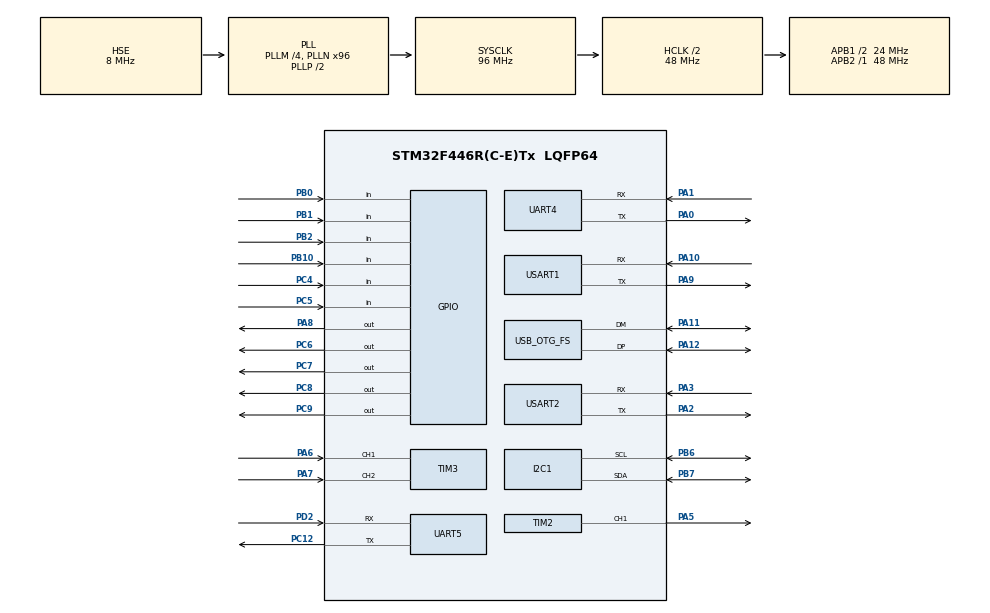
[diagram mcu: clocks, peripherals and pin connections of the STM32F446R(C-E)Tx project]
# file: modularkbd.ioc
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Dma.Request0=UART4_RX
Dma.Request1=UART4_TX
Dma.Request2=UART5_RX
Dma.Request3=UART5_TX
Dma.Request4=USART1_RX
Dma.Request5=USART1_TX
Dma.Request6=USART2_RX
Dma.Request7=USART2_TX
Dma.UART4_RX.0.Direction=DMA_PERIPH_TO_MEMORY
Dma.UART4_RX.0.FIFOMode=DMA_FIFOMODE_DISABLE
Dma.UART4_RX.0.Instance=DMA1_Stream2
Dma.UART4_RX.0.MemDataAlignment=DMA_MDATAALIGN_BYTE
Dma.UART4_RX.0.MemInc=DMA_MINC_ENABLE
Dma.UART4_RX.0.Mode=DMA_NORMAL
Dma.UART4_RX.0.PeriphDataAlignment=DMA_PDATAALIGN_BYTE
Dma.UART4_RX.0.PeriphInc=DMA_PINC_DISABLE
Dma.UART4_RX.0.Priority=DMA_PRIORITY_LOW
Dma.UART4_TX.1.Direction=DMA_MEMORY_TO_PERIPH
Dma.UART4_TX.1.FIFOMode=DMA_FIFOMODE_DISABLE
Dma.UART4_TX.1.Instance=DMA1_Stream4
Dma.UART4_TX.1.MemDataAlignment=DMA_MDATAALIGN_BYTE
Dma.UART4_TX.1.MemInc=DMA_MINC_ENABLE
Dma.UART4_TX.1.Mode=DMA_NORMAL
Dma.UART4_TX.1.PeriphDataAlignment=DMA_PDATAALIGN_BYTE
Dma.UART4_TX.1.PeriphInc=DMA_PINC_DISABLE
Dma.UART4_TX.1.Priority=DMA_PRIORITY_LOW
Dma.UART5_RX.2.Direction=DMA_PERIPH_TO_MEMORY
Dma.UART5_RX.2.FIFOMode=DMA_FIFOMODE_DISABLE
Dma.UART5_RX.2.Instance=DMA1_Stream0
Dma.UART5_RX.2.MemDataAlignment=DMA_MDATAALIGN_BYTE
Dma.UART5_RX.2.MemInc=DMA_MINC_ENABLE
Dma.UART5_RX.2.Mode=DMA_NORMAL
Dma.UART5_RX.2.PeriphDataAlignment=DMA_PDATAALIGN_BYTE
Dma.UART5_RX.2.PeriphInc=DMA_PINC_DISABLE
Dma.UART5_RX.2.Priority=DMA_PRIORITY_LOW
Dma.UART5_TX.3.Direction=DMA_MEMORY_TO_PERIPH
Dma.UART5_TX.3.FIFOMode=DMA_FIFOMODE_DISABLE
Dma.UART5_TX.3.Instance=DMA1_Stream7
Dma.UART5_TX.3.MemDataAlignment=DMA_MDATAALIGN_BYTE
Dma.UART5_TX.3.MemInc=DMA_MINC_ENABLE
Dma.UART5_TX.3.Mode=DMA_NORMAL
Dma.UART5_TX.3.PeriphDataAlignment=DMA_PDATAALIGN_BYTE
Dma.UART5_TX.3.PeriphInc=DMA_PINC_DISABLE
Dma.UART5_TX.3.Priority=DMA_PRIORITY_LOW
Dma.USART1_RX.4.Direction=DMA_PERIPH_TO_MEMORY
Dma.USART1_RX.4.FIFOMode=DMA_FIFOMODE_DISABLE
Dma.USART1_RX.4.Instance=DMA2_Stream2
Dma.USART1_RX.4.MemDataAlignment=DMA_MDATAALIGN_BYTE
Dma.USART1_RX.4.MemInc=DMA_MINC_ENABLE
Dma.USART1_RX.4.Mode=DMA_NORMAL
Dma.USART1_RX.4.PeriphDataAlignment=DMA_PDATAALIGN_BYTE
Dma.USART1_RX.4.PeriphInc=DMA_PINC_DISABLE
Dma.USART1_RX.4.Priority=DMA_PRIORITY_LOW
Dma.USART1_TX.5.Direction=DMA_MEMORY_TO_PERIPH
Dma.USART1_TX.5.FIFOMode=DMA_FIFOMODE_DISABLE
Dma.USART1_TX.5.Instance=DMA2_Stream7
Dma.USART1_TX.5.MemDataAlignment=DMA_MDATAALIGN_BYTE
Dma.USART1_TX.5.MemInc=DMA_MINC_ENABLE
Dma.USART1_TX.5.Mode=DMA_NORMAL
Dma.USART1_TX.5.PeriphDataAlignment=DMA_PDATAALIGN_BYTE
Dma.USART1_TX.5.PeriphInc=DMA_PINC_DISABLE
Dma.USART1_TX.5.Priority=DMA_PRIORITY_LOW
Dma.USART2_RX.6.Direction=DMA_PERIPH_TO_MEMORY
Dma.USART2_RX.6.FIFOMode=DMA_FIFOMODE_DISABLE
Dma.USART2_RX.6.Instance=DMA1_Stream5
Dma.USART2_RX.6.MemDataAlignment=DMA_MDATAALIGN_BYTE
Dma.USART2_RX.6.MemInc=DMA_MINC_ENABLE
Dma.USART2_RX.6.Mode=DMA_NORMAL
Dma.USART2_RX.6.PeriphDataAlignment=DMA_PDATAALIGN_BYTE
Dma.USART2_RX.6.PeriphInc=DMA_PINC_DISABLE
Dma.USART2_RX.6.Priority=DMA_PRIORITY_LOW
Dma.USART2_TX.7.Direction=DMA_MEMORY_TO_PERIPH
Dma.USART2_TX.7.FIFOMode=DMA_FIFOMODE_DISABLE
Dma.USART2_TX.7.Instance=DMA1_Stream6
Dma.USART2_TX.7.MemDataAlignment=DMA_MDATAALIGN_BYTE
Dma.USART2_TX.7.MemInc=DMA_MINC_ENABLE
Dma.USART2_TX.7.Mode=DMA_NORMAL
Dma.USART2_TX.7.PeriphDataAlignment=DMA_PDATAALIGN_BYTE
Dma.USART2_TX.7.PeriphInc=DMA_PINC_DISABLE
Dma.USART2_TX.7.Priority=DMA_PRIORITY_LOW
Mcu.Family=STM32F4
Mcu.Name=STM32F446R(C-E)Tx
Mcu.Package=LQFP64
NVIC.DMA1_Stream0_IRQn=true\:0\:0\:false\:false\:true\:false\:true\:true
NVIC.DMA1_Stream2_IRQn=true\:0\:0\:false\:false\:true\:false\:true\:true
NVIC.DMA1_Stream4_IRQn=true\:0\:0\:false\:false\:true\:false\:true\:true
NVIC.DMA1_Stream5_IRQn=true\:0\:0\:false\:false\:true\:false\:true\:true
NVIC.DMA1_Stream6_IRQn=true\:0\:0\:false\:false\:true\:false\:true\:true
NVIC.DMA1_Stream7_IRQn=true\:0\:0\:false\:false\:true\:false\:true\:true
NVIC.DMA2_Stream2_IRQn=true\:0\:0\:false\:false\:true\:false\:true\:true
NVIC.DMA2_Stream7_IRQn=true\:0\:0\:false\:false\:true\:false\:true\:true
NVIC.OTG_FS_IRQn=true\:0\:0\:false\:false\:true\:false\:true\:true
NVIC.PriorityGroup=NVIC_PRIORITYGROUP_4
NVIC.UART4_IRQn=true\:0\:0\:false\:false\:true\:true\:true\:true
NVIC.UART5_IRQn=true\:0\:0\:false\:false\:true\:true\:true\:true
NVIC.USART1_IRQn=true\:0\:0\:false\:false\:true\:true\:true\:true
NVIC.USART2_IRQn=true\:0\:0\:false\:false\:true\:true\:true\:true
PA0-WKUP.Mode=Asynchronous
PA0-WKUP.Signal=UART4_TX
PA1.Mode=Asynchronous
PA1.Signal=UART4_RX
PA10.Mode=Asynchronous
PA10.Signal=USART1_RX
PA11.Mode=Device_Only
PA11.Signal=USB_OTG_FS_DM
PA12.Mode=Device_Only
PA12.Signal=USB_OTG_FS_DP
PA13.Mode=JTAG_5_pins
PA13.Signal=SYS_JTMS-SWDIO
PA14.Mode=JTAG_5_pins
PA14.Signal=SYS_JTCK-SWCLK
PA15.Mode=JTAG_5_pins
PA15.Signal=SYS_JTDI
PA2.Mode=Asynchronous
PA2.Signal=USART2_TX
PA3.Mode=Asynchronous
PA3.Signal=USART2_RX
PA5.Signal=S_TIM2_CH1_ETR
PA6.Signal=S_TIM3_CH1
PA7.Signal=S_TIM3_CH2
PA8.Signal=GPIO_Output
PA9.Mode=Asynchronous
PA9.Signal=USART1_TX
PB0.GPIO_PuPd=GPIO_PULLDOWN
PB0.Signal=GPIO_Input
PB1.GPIO_PuPd=GPIO_PULLDOWN
PB1.Signal=GPIO_Input
PB10.GPIO_PuPd=GPIO_PULLDOWN
PB10.Signal=GPIO_Input
PB2.GPIO_PuPd=GPIO_PULLDOWN
PB2.Signal=GPIO_Input
PB3.Mode=JTAG_5_pins
PB3.Signal=SYS_JTDO-SWO
PB4.Mode=JTAG_5_pins
PB4.Signal=SYS_JTRST
PB6.Mode=I2C
PB6.Signal=I2C1_SCL
PB7.Mode=I2C
PB7.Signal=I2C1_SDA
PC12.Mode=Asynchronous
PC12.Signal=UART5_TX
PC4.GPIO_PuPd=GPIO_PULLDOWN
PC4.Signal=GPIO_Input
PC5.GPIO_PuPd=GPIO_PULLDOWN
PC5.Signal=GPIO_Input
PC6.Signal=GPIO_Output
PC7.Signal=GPIO_Output
PC8.Signal=GPIO_Output
PC9.Signal=GPIO_Output
PD2.Mode=Asynchronous
PD2.Signal=UART5_RX
PH0-OSC_IN.Mode=HSE-External-Oscillator
PH0-OSC_IN.Signal=RCC_OSC_IN
PH1-OSC_OUT.Mode=HSE-External-Oscillator
PH1-OSC_OUT.Signal=RCC_OSC_OUT
ProjectManager.HeapSize=0x200
ProjectManager.StackSize=0x400
ProjectManager.TargetToolchain=STM32CubeIDE
RCC.AHBCLKDivider=RCC_SYSCLK_DIV2
RCC.AHBFreq_Value=48000000
RCC.APB1CLKDivider=RCC_HCLK_DIV2
RCC.APB1Freq_Value=24000000
RCC.APB1TimFreq_Value=48000000
RCC.APB2Freq_Value=48000000
RCC.APB2TimFreq_Value=48000000
RCC.CortexFreq_Value=48000000
RCC.HCLKFreq_Value=48000000
RCC.HSE_VALUE=8000000
RCC.PLLM=4
RCC.PLLN=96
RCC.PLLQ=4
RCC.SYSCLKFreq_VALUE=96000000
RCC.SYSCLKSource=RCC_SYSCLKSOURCE_PLLCLK
RCC.USBFreq_Value=48000000
RCC.VCOOutputFreq_Value=192000000
SH.S_TIM2_CH1_ETR.0=TIM2_CH1,Forced Output1 CH1
SH.S_TIM3_CH1.0=TIM3_CH1,Encoder_Interface
SH.S_TIM3_CH2.0=TIM3_CH2,Encoder_Interface
TIM2.Channel-Forced\ Output1\ CH1=TIM_CHANNEL_1
UART4.VirtualMode=Asynchronous
UART5.VirtualMode=Asynchronous
USART1.VirtualMode=VM_ASYNC
USART2.VirtualMode=VM_ASYNC
USB_DEVICE.CLASS_NAME_FS=HID
USB_DEVICE.MANUFACTURER_STRING-HID_FS=Team SKBD
USB_DEVICE.PRODUCT_STRING_HID_FS=Modular Keyboard
USB_DEVICE.VirtualMode-HID_FS=Hid
USB_DEVICE.VirtualModeFS=Hid_FS
USB_OTG_FS.VirtualMode=Device_Only
VP_USB_DEVICE_VS_USB_DEVICE_HID_FS.Mode=HID_FS
board=custom

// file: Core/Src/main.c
/* USER CODE BEGIN Header */
/**
  ******************************************************************************
  * @file           : main.c
  * @brief          : Main program body
  ******************************************************************************
  * @attention
  *
  * Copyright (c) 2025 STMicroelectronics.
  * All rights reserved.
  *
  * This software is licensed under terms that can be found in the LICENSE file
  * in the root directory of this software component.
  * If no LICENSE file comes with this software, it is provided AS-IS.
  *
  ******************************************************************************
  */
/* USER CODE END Header */
#include "main.h"
#include "dma.h"
#include "i2c.h"
#include "tim.h"
#include "usart.h"
#include "usb_device.h"
#include "gpio.h"
#include <stdbool.h>

/* USER CODE BEGIN Includes */
#include "usbd_hid.h"
/* USER CODE END Includes */

/* USER CODE BEGIN PTD */

typedef struct {
    uint8_t MODIFIER;       // Modifier keys (Ctrl, Shift, Alt, Win)
    uint8_t RESERVED;       // Always 0
    uint8_t KEYPRESS[12];   // Up to 12 keycodes
} __attribute__((packed)) HIDReport;

// Switch pin mapping structure
typedef struct {
  GPIO_TypeDef* GPIOx;    // Pointer to GPIO port (e.g., GPIOA, GPIOB)
  uint16_t PIN;           // Pin number on the GPIO port
} SwitchPins;

// UART message structure for sending/receiving key events
typedef struct {
  uint16_t DEPTH;         // Custom field: could represent queue depth, layer, or message size
  uint16_t TYPE;          // Message type identifier (defines what kind of message this is)
  uint8_t KEYPRESS[12];   // Keypress data (similar to HIDReport, but for UART transmission)
} __attribute__((packed)) UARTMessage;

#define PACKET_SIZE 12
#define QUEUE_CAPACITY 32

typedef struct {
    uint8_t data[QUEUE_CAPACITY][PACKET_SIZE];
    volatile uint8_t head; // accessed in main
    volatile uint8_t tail; // accessed in ISR
    volatile uint8_t count; // optional, only if needed
} PacketQueue;

// Initialize
void pq_init(PacketQueue *q){
    q->head = 0;
    q->tail = 0;
    q->count = 0;
}

// Called from ISR
bool pq_push(PacketQueue *q, const uint8_t packet[PACKET_SIZE]){
    uint8_t nextTail = (q->tail + 1) % QUEUE_CAPACITY;
    if(nextTail == q->head) return false; // queue full

    memcpy(q->data[q->tail], packet, PACKET_SIZE);
    q->tail = nextTail;
    return true;
}

// Called from main
bool pq_pop(PacketQueue *q, uint8_t out_packet[PACKET_SIZE]){
    if(q->head == q->tail) return false; // queue empty

    memcpy(out_packet, q->data[q->head], PACKET_SIZE);
    q->head = (q->head + 1) % QUEUE_CAPACITY;
    return true;
}

/* USER CODE END PTD */

/* USER CODE BEGIN PM */
#define ROW 6
#define COL 5
#define MAXQUEUE 256
#define MODE_INACTIVE 0
#define MODE_MAINBOARD 1
#define MODE_ACTIVE 2
#define MODE_DEBUG 3
#define UART_RX_BUFF_SIZE 64
#define QUEUE_SIZ 8
/* USER CODE END PM */

/* USER CODE BEGIN PV */

// Initialize HID report properly
HIDReport REPORT = {0, 0, {0}};
UARTMessage RX5Msg; //Buffer for messages on uart5
UARTMessage RX1Msg; //Buffer for messages on uart5
UARTMessage RX2Msg; //Buffer for messages on uart5
UARTMessage RX4Msg; //Buffer for messages on uart5

SwitchPins ROW_PINS[ROW] = {
	{GPIOB, GPIO_PIN_10},
	{GPIOB, GPIO_PIN_2},
	{GPIOB, GPIO_PIN_1},
	{GPIOB, GPIO_PIN_0},
    {GPIOC, GPIO_PIN_5},
    {GPIOC, GPIO_PIN_4},
};

SwitchPins COLUMN_PINS[COL] = {
	{GPIOA, GPIO_PIN_8},
	{GPIOC, GPIO_PIN_9},
	{GPIOC, GPIO_PIN_8},
    {GPIOC, GPIO_PIN_7},
	{GPIOC, GPIO_PIN_6}
};

// Initialize keycodes array
uint8_t KEYCODES[ROW][COL] = {
    {0x00,		KEY_F13, 		KEY_F14, 		KEY_F15,			KEY_F16},
	{KEY_F17,	NUM_LOCK,		KEYPAD_SLASH,	KEYPAD_ASTERISK, 	KEYPAD_MINUS},
	{KEY_F18, 	KEYPAD_7,		KEYPAD_8,		KEYPAD_9,			KEYPAD_PLUS},
	{KEY_F19,	KEYPAD_4,		KEYPAD_5,		KEYPAD_6,			0x00},
	{KEY_F20,	KEYPAD_1,		KEYPAD_2,		KEYPAD_3,			KEYPAD_ENTER},
	{KEY_F21,	KEYPAD_0,		0x00,			KEYPAD_DOT,			0x00}
};

uint16_t DEPTH = 0;
uint16_t PORT_DEPTH[] = {0xFF, 0xFF, 0xFF, 0xFF};
UART_HandleTypeDef* PARENT;
UART_HandleTypeDef* PORTS[] = {&huart5, &huart1, &huart2, &huart4};
uint8_t KEYSTATE_CHANGED_FLAG = 0;
uint8_t KEYSTATE[ROW][COL];
								//North	 East	 South	 West
UARTMessage reportBuff;

extern USBD_HandleTypeDef hUsbDeviceFS;
volatile uint8_t MODE = MODE_INACTIVE;

UARTMessage uartBuffer;
volatile int uartUpdateFlag = 0;
// Encoder state (TIM3 in encoder mode on PA6/PA7)
volatile int32_t LAST_ENCODER_COUNT = 0;

uint8_t UART_KEYSTATE[4][12];

PacketQueue huart1q;
PacketQueue huart2q;
PacketQueue huart4q;
PacketQueue huart5q;

/* USER CODE END PV */

void SystemClock_Config(void);
/* USER CODE BEGIN PFP */
void handleUARTMessages(uint8_t *data, UART_HandleTypeDef *huart);
void UART_DMA_SendReport(UART_HandleTypeDef *huart);
void addUSBReport(uint8_t usageID);
void handleUARTMessages(uint8_t *data, UART_HandleTypeDef *sender);
void matrixScan(void);
void encoderProcess(void);
void resetReport(void);
void sendMessage(void);
void findBestParent();
void mergeChild();
/* USER CODE END PFP */

int main(void)
{

  /* MCU Configuration--------------------------------------------------------*/

  /* Reset of all peripherals, Initializes the Flash interface and the Systick. */
  HAL_Init();

  /* Configure the system clock */
  SystemClock_Config();

  /* Initialize all configured peripherals */
  MX_GPIO_Init();
  MX_DMA_Init();
  MX_TIM2_Init();
  MX_TIM3_Init();
  MX_UART4_Init();
  MX_UART5_Init();
  MX_USART1_UART_Init();
  MX_USART2_UART_Init();
  MX_I2C1_Init();
  MX_USB_DEVICE_Init();
  /* USER CODE BEGIN 2 */

  //Enable UART RX DMA for all ports
  HAL_UART_Receive_DMA(&huart1, (uint8_t*)&RX1Msg, sizeof(UARTMessage));
  HAL_UART_Receive_DMA(&huart2, (uint8_t*)&RX2Msg, sizeof(UARTMessage));
  HAL_UART_Receive_DMA(&huart4, (uint8_t*)&RX4Msg, sizeof(UARTMessage));
  HAL_UART_Receive_DMA(&huart5, (uint8_t*)&RX5Msg, sizeof(UARTMessage));

  // Start TIM3 encoder (PA6/PA7) so we can read encoder delta
  HAL_TIM_Encoder_Start(&htim3, TIM_CHANNEL_ALL);
  LAST_ENCODER_COUNT = __HAL_TIM_GET_COUNTER(&htim3);

  //Prealloc Kestate matrix
  memset(KEYSTATE, 0, sizeof(KEYSTATE));
  pq_init(&huart1q);
  pq_init(&huart2q);
  pq_init(&huart4q);
  pq_init(&huart5q);

  /* USER CODE END 2 */

  /* Infinite loop */
  /* USER CODE BEGIN WHILE */
  while (1)
  {
	  switch (MODE){
	  case MODE_ACTIVE:
		  KEYSTATE_CHANGED_FLAG = 1;
		  resetReport();
		  matrixScan();
		  mergeChild();
		  //encoderProcess();
		  if(KEYSTATE_CHANGED_FLAG == 1){
			  UARTMessage UARTREPORT;
			  UARTREPORT.DEPTH = DEPTH;
			  UARTREPORT.TYPE = 0xEE;
			  memcpy(UARTREPORT.KEYPRESS, REPORT.KEYPRESS, sizeof(UARTREPORT.KEYPRESS));
			  HAL_UART_Transmit_DMA(PARENT, (uint8_t*)&UARTREPORT, sizeof(UARTREPORT));
		  }
		  break;

	  case MODE_INACTIVE:
		  //If the module is connected through the USB then mode is mainboard
		  if(hUsbDeviceFS.dev_state == USBD_STATE_CONFIGURED){
			  MODE = MODE_MAINBOARD;
			  DEPTH = 0;
		  }else{
			  //TODO: Look for a parent module...

			  UARTMessage REQ;
			  REQ.DEPTH = 0;
			  REQ.TYPE = 0xFF;	//Message code for request is 0xFF
			  memset(REQ.KEYPRESS, 0, sizeof(REQ.KEYPRESS));

			  //Send query' for parent module
			  HAL_UART_Transmit_DMA(&huart1, (uint8_t*)&REQ, sizeof(REQ));
			  HAL_UART_Transmit_DMA(&huart2, (uint8_t*)&REQ, sizeof(REQ));
			  HAL_UART_Transmit_DMA(&huart4, (uint8_t*)&REQ, sizeof(REQ));
			  HAL_UART_Transmit_DMA(&huart5, (uint8_t*)&REQ, sizeof(REQ));
			  HAL_Delay(500);
			  findBestParent(); //So true...
		  }
		  break;

	  case MODE_MAINBOARD:
		  resetReport();
		  matrixScan();//Something related to this making the key stick. Likely due to race conditions
		  mergeChild();
		  //encoderProcess();
		  USBD_HID_SendReport(&hUsbDeviceFS, (uint8_t*)&REPORT, sizeof(REPORT));
		  break;

	  default:
		  break;
	  }

	  HAL_Delay(20);
    /* USER CODE END WHILE */

  }
}

void mergeChild(){
	uint8_t packet[12];
	if (pq_pop(&huart1q, packet)) {
		memcpy(UART_KEYSTATE[1], packet, 12);
		KEYSTATE_CHANGED_FLAG = 1;
	}
	if (pq_pop(&huart2q, packet)) {
		memcpy(UART_KEYSTATE[2], packet, 12);
		KEYSTATE_CHANGED_FLAG = 1;
	}
	if (pq_pop(&huart4q, packet)) {
		memcpy(UART_KEYSTATE[3], packet, 12);
		KEYSTATE_CHANGED_FLAG = 1;
	}
	if (pq_pop(&huart5q, packet)) {
		memcpy(UART_KEYSTATE[0], packet, 12);
		KEYSTATE_CHANGED_FLAG = 1;
	}
	for(int i = 0; i < 4; i++){
		for(int j = 0; j < 12; j++){
			REPORT.KEYPRESS[j] |= UART_KEYSTATE[i][j];
		}
	}
}

void SystemClock_Config(void)
{
  RCC_OscInitTypeDef RCC_OscInitStruct = {0};
  RCC_ClkInitTypeDef RCC_ClkInitStruct = {0};

  /** Configure the main internal regulator out put  voltage
  */
  __HAL_RCC_PWR_CLK_ENABLE();
  __HAL_PWR_VOLTAGESCALING_CONFIG(PWR_REGULATOR_VOLTAGE_SCALE3);

  /** Initializes the RCC Oscillators according to the specified parameters
  * in the RCC_OscInitTypeDef structure.
  */
  RCC_OscInitStruct.OscillatorType = RCC_OSCILLATORTYPE_HSE;
  RCC_OscInitStruct.HSEState = RCC_HSE_ON;
  RCC_OscInitStruct.PLL.PLLState = RCC_PLL_ON;
  RCC_OscInitStruct.PLL.PLLSource = RCC_PLLSOURCE_HSE;
  RCC_OscInitStruct.PLL.PLLM = 4;
  RCC_OscInitStruct.PLL.PLLN = 96;
  RCC_OscInitStruct.PLL.PLLP = RCC_PLLP_DIV2;
  RCC_OscInitStruct.PLL.PLLQ = 4;
  RCC_OscInitStruct.PLL.PLLR = 2;
  if (HAL_RCC_OscConfig(&RCC_OscInitStruct) != HAL_OK)
  {
    Error_Handler();
  }

  /** Initializes the CPU, AHB and APB buses clocks
  */
  RCC_ClkInitStruct.ClockType = RCC_CLOCKTYPE_HCLK|RCC_CLOCKTYPE_SYSCLK
                              |RCC_CLOCKTYPE_PCLK1|RCC_CLOCKTYPE_PCLK2;
  RCC_ClkInitStruct.SYSCLKSource = RCC_SYSCLKSOURCE_PLLCLK;
  RCC_ClkInitStruct.AHBCLKDivider = RCC_SYSCLK_DIV2;
  RCC_ClkInitStruct.APB1CLKDivider = RCC_HCLK_DIV2;
  RCC_ClkInitStruct.APB2CLKDivider = RCC_HCLK_DIV1;

  if (HAL_RCC_ClockConfig(&RCC_ClkInitStruct, FLASH_LATENCY_1) != HAL_OK)
  {
    Error_Handler();
  }
}

/* USER CODE BEGIN 4 */
// UART Message Requests Goes Here
void HAL_UART_RxCpltCallback(UART_HandleTypeDef *huart) {
    if (huart->Instance == USART1) {
        handleUARTMessages((uint8_t*)&RX1Msg, &huart1);
        HAL_UART_Receive_DMA(&huart1, (uint8_t*)&RX1Msg, sizeof(UARTMessage));
    }
    else if (huart->Instance == USART2) {
        handleUARTMessages((uint8_t*)&RX2Msg, &huart2);
        HAL_UART_Receive_DMA(&huart2, (uint8_t*)&RX2Msg, sizeof(UARTMessage));
    }
    else if (huart->Instance == UART4) {
        handleUARTMessages((uint8_t*)&RX4Msg, &huart4);
        HAL_UART_Receive_DMA(&huart4, (uint8_t*)&RX4Msg, sizeof(UARTMessage));
    }
    else if (huart->Instance == UART5) {
        handleUARTMessages((uint8_t*)&RX5Msg, &huart5);
        HAL_UART_Receive_DMA(&huart5, (uint8_t*)&RX5Msg, sizeof(UARTMessage));
    }
}

void HAL_UART_ErrorCallback(UART_HandleTypeDef *huart) {
    // Restart DMA on error
    if (huart->Instance == USART1) {
        HAL_UART_Receive_DMA(&huart1, (uint8_t*)&RX1Msg, sizeof(UARTMessage));
    }
    else if (huart->Instance == USART2) {
        HAL_UART_Receive_DMA(&huart2, (uint8_t*)&RX2Msg, sizeof(UARTMessage));
    }
    else if (huart->Instance == UART4) {
        HAL_UART_Receive_DMA(&huart4, (uint8_t*)&RX4Msg, sizeof(UARTMessage));
    }
    else if (huart->Instance == UART5) {
        HAL_UART_Receive_DMA(&huart5, (uint8_t*)&RX5Msg, sizeof(UARTMessage));
    }
}

void findBestParent(){
  //Find least depth parent
  uint16_t least_val = 0xFF;
  UART_HandleTypeDef* least_port = NULL;
  for(uint8_t i = 0; i < 4; i++){
	  if(PORT_DEPTH[i]<least_val){
		  least_port = PORTS[i];
		  least_val = PORT_DEPTH[i];
	  }
  }

  //Assign if valid
  if(least_val < 0xFF){
	  PARENT = least_port;
	  DEPTH = least_val + 1;
	  MODE = MODE_ACTIVE;
	  HAL_Delay(500);
  }
}

// Called when UART RX interrupt completes
void handleUARTMessages(uint8_t *data, UART_HandleTypeDef *sender) {
    UARTMessage msg;
    UARTMessage reply;

    // Parse incoming message into struct
    memcpy(&msg, data, sizeof(UARTMessage));

    switch(msg.TYPE) {

        // Parent request reply
        case 0xAA:
            if(sender == &huart5) {
                PORT_DEPTH[0] = msg.DEPTH;
            } else if(sender == &huart1) {
                PORT_DEPTH[1] = msg.DEPTH;
            } else if(sender == &huart2) {
                PORT_DEPTH[2] = msg.DEPTH;
            } else if(sender == &huart4) {
                PORT_DEPTH[3] = msg.DEPTH;
            }
            break;

        // Requested to be a parent
        case 0xFF:
        	if(MODE!=MODE_INACTIVE){
				reply.TYPE = 0xAA;
				reply.DEPTH = DEPTH;   // use your local DEPTH
				memset(reply.KEYPRESS, 0, sizeof(reply.KEYPRESS));
				HAL_UART_Transmit_DMA(sender, (uint8_t*)&reply, sizeof(reply));
        	}
            break;

        case 0xEE:
        	//TODO: Append message to the thingy
//            if (MODE != MODE_INACTIVE) {
//                for (int i = 0; i < sizeof(REPORT.KEYPRESS); i++) {
//                    uartBuffer.KEYPRESS[i] |= msg.KEYPRESS[i];
//                }
//                uartUpdateFlag = 1;
//            }
        	if(sender == &huart5) {
        	    pq_push(&huart5q, msg.KEYPRESS);
        	} else if(sender == &huart1) {
        		pq_push(&huart1q, msg.KEYPRESS);
        	} else if(sender == &huart2) {
        		pq_push(&huart2q, msg.KEYPRESS);
        	} else if(sender == &huart4) {
        		pq_push(&huart4q, msg.KEYPRESS);
        	}

        	break;

        default:
        	break;

    }
}

void addUSBReport(uint8_t usageID){
  if(usageID < 0x04 || usageID > 0x73) return; //Usage ID is out of bounds
  uint16_t bit_index = usageID - 0x04; //Offset, UsageID starts with 0x04. Gives us the actual value of the bit
  uint8_t byte_index = bit_index/8;    //Calculates which byte in the REPORT array
  uint8_t bit_offset = bit_index%8;    //Calculates which bits in the REPORT[byte_index] should be set/unset
  REPORT.KEYPRESS[byte_index] |= (1 << bit_offset);
}

void matrixScan(void){

    for (uint8_t col = 0; col < COL; col++){
        HAL_GPIO_WritePin(COLUMN_PINS[col].GPIOx, COLUMN_PINS[col].PIN, GPIO_PIN_SET);
        HAL_Delay(1);
        for(uint8_t row = 0; row < ROW; row++){
            uint8_t new_key = HAL_GPIO_ReadPin(ROW_PINS[row].GPIOx, ROW_PINS[row].PIN);
            if(new_key != KEYSTATE[row][col]){
                KEYSTATE_CHANGED_FLAG = 1;
                KEYSTATE[row][col] = new_key;
            }
            if(new_key){
            	addUSBReport(KEYCODES[row][col]);
            }
        }
        HAL_GPIO_WritePin(COLUMN_PINS[col].GPIOx, COLUMN_PINS[col].PIN, GPIO_PIN_RESET);
    }

}

// Read TIM3 encoder counter, calculate delta and add corresponding keycodes
void encoderProcess(void){
  int32_t cnt = (int32_t)__HAL_TIM_GET_COUNTER(&htim3);
  int32_t diff = cnt - LAST_ENCODER_COUNT;
  // TIM3 configured as 16-bit counter (period 65535). Fix wrap-around.
  if(diff > 32767) diff -= 65536;
  if(diff < -32768) diff += 65536;
  if(diff > 0){
    int steps = diff;
    if(steps > 10) steps = 10; // cap bursts
    for(int i = 0; i < steps; i++){
      // CW -> KEYCODES[0][0]
      addUSBReport(KEYCODES[0][0]);
    }
  }else if(diff < 0){
    int steps = -diff;
    if(steps > 10) steps = 10;
    for(int i = 0; i < steps; i++){
      // CCW -> KEYCODES[0][1]
      addUSBReport(KEYCODES[0][1]);
    }
  }
  LAST_ENCODER_COUNT = cnt;
}

void resetReport(void){
	memset(REPORT.KEYPRESS, 0, sizeof(REPORT.KEYPRESS));
}

/* USER CODE END 4 */

void Error_Handler(void)
{
  __disable_irq();
  while (1)
  {
  }
}
